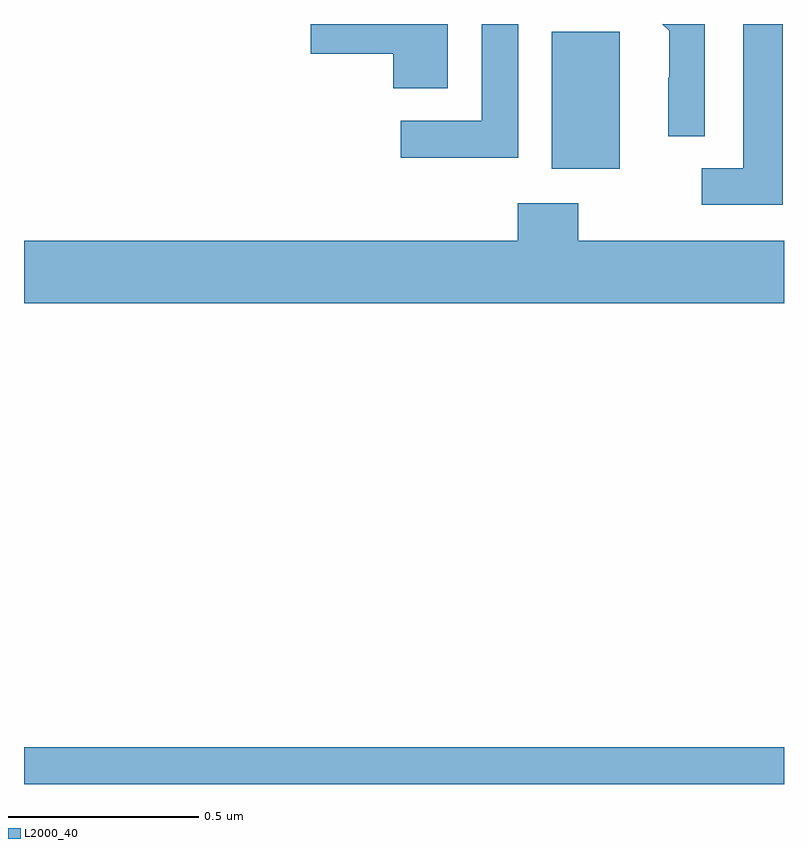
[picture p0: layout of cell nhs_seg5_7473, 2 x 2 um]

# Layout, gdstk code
import gdstk
lib = gdstk.Library(unit=1e-6, precision=1e-09)
def R(c, l, rs):  # rectangles x0, y0, x1, y1
    for r in rs: c.add(gdstk.rectangle(r[:2], r[2:], *l))
def P(c, l, *ps):  # polygons
    for p in ps: c.add(gdstk.Polygon(p, *l))
L2000_40 = (2000, 40)

nhs_seg5_7473 = lib.new_cell('nhs_seg5_7473')
R(nhs_seg5_7473, L2000_40, [(209,884.799,211,884.896), (210.389,886.418,210.568,886.779)])
P(nhs_seg5_7473, L2000_40, [(210.115,886.799),(209.754,886.799),(209.754,886.721),(209.972,886.721),(209.972,886.63),(210.115,886.63)],
  [(210.997,886.799),(210.893,886.799),(210.893,886.419),(210.783,886.419),(210.783,886.323),(210.997,886.323)],
  [(210.3,886.799),(210.204,886.799),(210.204,886.545),(209.991,886.545),(209.991,886.447),(210.3,886.447)],
  [(210.792,886.799),(210.68,886.799),(210.698,886.781),(210.698,886.658),(210.696,886.658),(210.696,886.504),(210.792,886.504)],
  [(211,886.228),(210.459,886.228),(210.459,886.327),(210.299,886.327),(210.299,886.228),(209,886.228),(209,886.064),(211,886.064)])

lib.write_gds('nhs_seg5_7473.gds')
